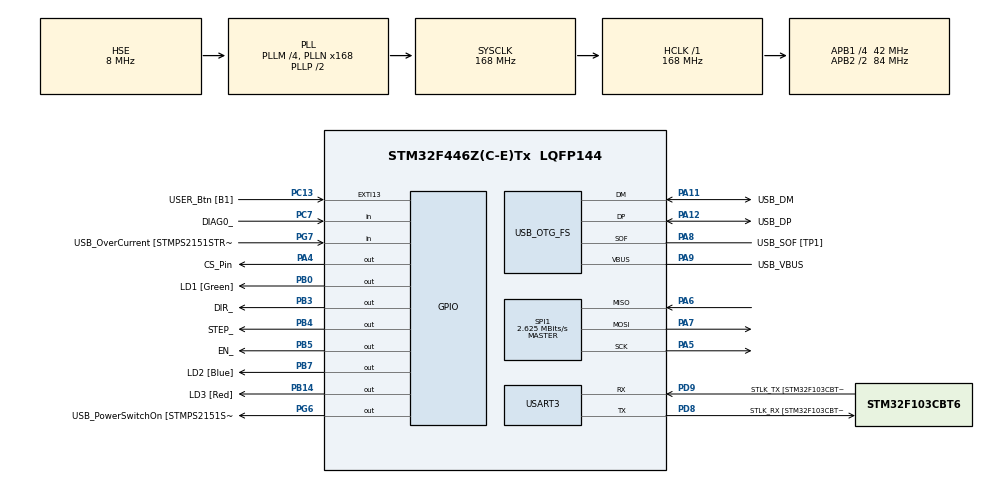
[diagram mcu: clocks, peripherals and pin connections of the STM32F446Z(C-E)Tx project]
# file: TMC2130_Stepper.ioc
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Mcu.Family=STM32F4
Mcu.Name=STM32F446Z(C-E)Tx
Mcu.Package=LQFP144
NVIC.PriorityGroup=NVIC_PRIORITYGROUP_4
NVIC.TIM1_TRG_COM_TIM11_IRQn=true\:0\:0\:false\:false\:true\:true\:true\:true
NVIC.TIM1_UP_TIM10_IRQn=true\:0\:0\:false\:false\:true\:true\:true\:true
PA10.GPIO_Label=USB_ID
PA10.Signal=USB_OTG_FS_ID
PA11.GPIO_Label=USB_DM
PA11.Mode=Device_Only
PA11.Signal=USB_OTG_FS_DM
PA12.GPIO_Label=USB_DP
PA12.Mode=Device_Only
PA12.Signal=USB_OTG_FS_DP
PA13.GPIO_Label=TMS
PA13.Mode=Serial_Wire
PA13.Signal=SYS_JTMS-SWDIO
PA14.GPIO_Label=TCK
PA14.Mode=Serial_Wire
PA14.Signal=SYS_JTCK-SWCLK
PA4.GPIO_Label=CS_Pin
PA4.Signal=GPIO_Output
PA5.Mode=Full_Duplex_Master
PA5.Signal=SPI1_SCK
PA6.Mode=Full_Duplex_Master
PA6.Signal=SPI1_MISO
PA7.Mode=Full_Duplex_Master
PA7.Signal=SPI1_MOSI
PA8.GPIO_Label=USB_SOF [TP1]
PA8.Mode=Activate_SOF_FS
PA8.Signal=USB_OTG_FS_SOF
PA9.GPIO_Label=USB_VBUS
PA9.Mode=Activate_VBUS
PA9.Signal=USB_OTG_FS_VBUS
PB0.GPIO_Label=LD1 [Green]
PB0.Signal=GPIO_Output
PB14.GPIO_Label=LD3 [Red]
PB14.Signal=GPIO_Output
PB3.GPIO_Label=DIR_
PB3.Signal=GPIO_Output
PB4.GPIO_Label=STEP_
PB4.Signal=GPIO_Output
PB5.GPIO_Label=EN_
PB5.Signal=GPIO_Output
PB7.GPIO_Label=LD2 [Blue]
PB7.Signal=GPIO_Output
PC13.GPIO_Label=USER_Btn [B1]
PC13.Signal=GPXTI13
PC14-OSC32_IN.Mode=LSE-External-Oscillator
PC14-OSC32_IN.Signal=RCC_OSC32_IN
PC15-OSC32_OUT.Mode=LSE-External-Oscillator
PC15-OSC32_OUT.Signal=RCC_OSC32_OUT
PC7.GPIO_Label=DIAG0_
PC7.GPIO_PuPd=GPIO_PULLUP
PC7.Signal=GPIO_Input
PD8.GPIO_Label=STLK_RX [STM32F103CBT6_PA3]
PD8.Mode=Asynchronous
PD8.Signal=USART3_TX
PD9.GPIO_Label=STLK_TX [STM32F103CBT6_PA2]
PD9.Mode=Asynchronous
PD9.Signal=USART3_RX
PG6.GPIO_Label=USB_PowerSwitchOn [STMPS2151STR_EN]
PG6.Signal=GPIO_Output
PG7.GPIO_Label=USB_OverCurrent [STMPS2151STR_FAULT]
PG7.Signal=GPIO_Input
PH0-OSC_IN.GPIO_Label=MCO [STM32F103CBT6_PA8]
PH0-OSC_IN.Mode=HSE-External-Clock-Source
PH0-OSC_IN.Signal=RCC_OSC_IN
PH1-OSC_OUT.Mode=HSE-External-Clock-Source
PH1-OSC_OUT.Signal=RCC_OSC_OUT
ProjectManager.HeapSize=0x200
ProjectManager.StackSize=0x400
ProjectManager.TargetToolchain=STM32CubeIDE
RCC.48MHZClocksFreq_Value=24000000
RCC.AHBFreq_Value=168000000
RCC.APB1CLKDivider=RCC_HCLK_DIV4
RCC.APB1Freq_Value=42000000
RCC.APB1TimFreq_Value=84000000
RCC.APB2CLKDivider=RCC_HCLK_DIV2
RCC.APB2Freq_Value=84000000
RCC.APB2TimFreq_Value=168000000
RCC.CortexFreq_Value=168000000
RCC.HCLKFreq_Value=168000000
RCC.HSE_VALUE=8000000
RCC.HSI_VALUE=16000000
RCC.PLLM=4
RCC.PLLMUL=RCC_PLL_MUL9
RCC.PLLN=168
RCC.PLLQ=7
RCC.PRESCALERUSB=RCC_USBCLKSOURCE_PLL_DIV1_5
RCC.SYSCLKFreq_VALUE=168000000
RCC.SYSCLKSource=RCC_SYSCLKSOURCE_PLLCLK
RCC.SYSCLKSourceVirtual=RCC_SYSCLKSOURCE_PLLCLK
RCC.USBFreq_Value=48000000
RCC.VCOOutputFreq_Value=336000000
SPI1.BaudRatePrescaler=SPI_BAUDRATEPRESCALER_32
SPI1.CLKPhase=SPI_PHASE_2EDGE
SPI1.CLKPolarity=SPI_POLARITY_HIGH
SPI1.CalculateBaudRate=2.625 MBits/s
SPI1.Direction=SPI_DIRECTION_2LINES
SPI1.Mode=SPI_MODE_MASTER
SPI1.VirtualType=VM_MASTER
TIM10.AutoReloadPreload=TIM_AUTORELOAD_PRELOAD_ENABLE
TIM10.Period=10000-1
TIM10.Prescaler=168-1
TIM11.AutoReloadPreload=TIM_AUTORELOAD_PRELOAD_ENABLE
TIM11.Period=640
TIM11.Prescaler=0
USART3.VirtualMode=VM_ASYNC
USB_OTG_FS.VirtualMode=Device_Only
VP_TIM10_VS_ClockSourceINT.Mode=Enable_Timer
VP_TIM11_VS_ClockSourceINT.Mode=Enable_Timer
board=NUCLEO-F446ZE

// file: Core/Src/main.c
/* USER CODE BEGIN Header */
/**
  ******************************************************************************
  * @file           : main.c
  * @brief          : Main program body
  ******************************************************************************
  * @attention
  *
  * Copyright (c) 2022 STMicroelectronics.
  * All rights reserved.
  *
  * This software is licensed under terms that can be found in the LICENSE file
  * in the root directory of this software component.
  * If no LICENSE file comes with this software, it is provided AS-IS.
  *
  ******************************************************************************
  */
/* USER CODE END Header */
#include "main.h"

/* USER CODE BEGIN Includes */
#include "tmc2130.h"
#include "tmc2130_step_generator.h"
#include "delay_us.h"
#include <stdlib.h>
/* USER CODE END Includes */

SPI_HandleTypeDef hspi1;

TIM_HandleTypeDef htim10;
TIM_HandleTypeDef htim11;

UART_HandleTypeDef huart3;

PCD_HandleTypeDef hpcd_USB_OTG_FS;

/* USER CODE BEGIN PV */

UART_HandleTypeDef *Log_UART = &huart3;

TMC2130TypeDef Motor_X;
TMC2130_Controller_t Motor_Controller = {.Motor = &Motor_X};

void Log_UART_Send_Char(char data)
{
    Log_UART->Instance->DR = (data);
    while (__HAL_UART_GET_FLAG(Log_UART, UART_FLAG_TC) == 0)
        ;
}

void Log_UART_Send_String(char *data)
{
    while (*data)
    {
        Log_UART_Send_Char(*data++);
    }
}

void Log_UART_Send_Int(int32_t num)
{
    char int_to_str[10] = {0};
    itoa(num, int_to_str, 10);
    Log_UART_Send_String(int_to_str);
}

void Log_UART_Send_Int_Hex(int32_t num)
{
    char int_to_str[32] = {0};
    itoa(num, int_to_str, 16);
    Log_UART_Send_String(int_to_str);
}

void Motor_config()
{
    int32_t sts = 0;

    Motor_X.CS_Port = CS_Pin_GPIO_Port;
    Motor_X.CS_Pin = CS_Pin_Pin;

    Motor_X.Step_Port = STEP__GPIO_Port;
    Motor_X.Step_Pin = STEP__Pin;

    Motor_X.DIR_Port = DIR__GPIO_Port;
    Motor_X.DIR_Pin = DIR__Pin;

    Motor_X.Enable_Port = EN__GPIO_Port;
    Motor_X.Enable_Pin = EN__Pin;

    Motor_X.DIAG1_Port = DIAG0__GPIO_Port;
    Motor_X.DIAG1_Pin = DIAG0__Pin;

    TMC_Add(&Motor_Controller);

    // set step generator parameters
    TMC_Set_Acceleration(&Motor_Controller, 130000);
    TMC_Set_MAX_velocity(&Motor_Controller, 130000);

    // enable stall and set minimum velocity for stall activation
    TMC_Enable_Stall(&Motor_Controller, 100000);

    // set tmc2130 parameters
    TMC2130_Set_Chopper_Off_Time(&Motor_X, 4);
    TMC2130_Set_Chopper_Blank_Time(&Motor_X, 0b10);
    TMC2130_Set_Max_Current(&Motor_X, 5);
    TMC2130_Set_Standby_Current(&Motor_X, 5);
    TMC2130_Set_Microstep(&Motor_X, 256);
    TMC2130_Set_TCOOLTHRS(&Motor_X, 0xFFFFF);
    TMC2130_Set_THIGH(&Motor_X, 0);
    TMC2130_Set_SEMIN_I(&Motor_X, 5);
    TMC2130_Set_SEMAX(&Motor_X, 2);
    TMC2130_Set_SEDN_I(&Motor_X, 0b01);

    TMC2130_Set_Stall_Threshold(&Motor_X, 12);

    // config diag1 for stall
    TMC2130_Set_DIAG0_Attribute(&Motor_X, DIAG_STALL, 1);

    sts = TMC2130_Get_Microstep(&Motor_X);
    sts = TMC2130_Get_Max_Current(&Motor_X);
    sts = TMC2130_Get_Standby_Current(&Motor_X);

    UNUSED(sts);
}

/* USER CODE END PV */

void SystemClock_Config(void);
static void MX_GPIO_Init(void);
static void MX_USART3_UART_Init(void);
static void MX_USB_OTG_FS_PCD_Init(void);
static void MX_SPI1_Init(void);
static void MX_TIM10_Init(void);
static void MX_TIM11_Init(void);

int main(void)
{

  /* MCU Configuration--------------------------------------------------------*/

  /* Reset of all peripherals, Initializes the Flash interface and the Systick. */
  HAL_Init();

  /* Configure the system clock */
  SystemClock_Config();

  /* Initialize all configured peripherals */
  MX_GPIO_Init();
  MX_USART3_UART_Init();
  MX_USB_OTG_FS_PCD_Init();
  MX_SPI1_Init();
  MX_TIM10_Init();
  MX_TIM11_Init();
  /* USER CODE BEGIN 2 */

  Motor_config();
  TMC_Enable_Driver(&Motor_Controller, 1);
  TMC_TIM_Enable(1);

  //rotate at fix velocity rpm = (100000*60)/(200*256)
  TMC_Rotate(&Motor_Controller, 100000);

  // wait for stall, sensorless homing
  //Kol nera DIAG0 arba DIAG1 tol neveiks Stall aptikimas
  //while (!(TMC_Get_Status(&Motor_Controller) & STATUS_STALLED));

  // reset postion
  TMC_Set_Actual_Position(&Motor_Controller, 0);

  HAL_Delay(2000);

  /* USER CODE END 2 */

  /* Infinite loop */
  /* USER CODE BEGIN WHILE */
  while (1)
  {
/*
      TMC_Move(&Motor_Controller, -2560 * 200 * 1); // move xx revolution

      while (!(TMC_Get_Status(&Motor_Controller) & STATUS_TARGET_REACHED) &&
             !(TMC_Get_Status(&Motor_Controller) & STATUS_STALLED));

      HAL_Delay(10);

      TMC_Move(&Motor_Controller, 2560 * 200 * 1); // move xx revolution

      while (!(TMC_Get_Status(&Motor_Controller) & STATUS_TARGET_REACHED) &&
             !(TMC_Get_Status(&Motor_Controller) & STATUS_STALLED));

      HAL_Delay(10);
*/
	  TMC_Rotate(&Motor_Controller, 100000);
	  HAL_Delay(3000);
	  TMC_Rotate(&Motor_Controller, -50000);
	  HAL_Delay(3000);

    /* USER CODE END WHILE */

  }
}

void SystemClock_Config(void)
{
  RCC_OscInitTypeDef RCC_OscInitStruct = {0};
  RCC_ClkInitTypeDef RCC_ClkInitStruct = {0};

  /** Configure the main internal regulator output voltage
  */
  __HAL_RCC_PWR_CLK_ENABLE();
  __HAL_PWR_VOLTAGESCALING_CONFIG(PWR_REGULATOR_VOLTAGE_SCALE1);

  /** Initializes the RCC Oscillators according to the specified parameters
  * in the RCC_OscInitTypeDef structure.
  */
  RCC_OscInitStruct.OscillatorType = RCC_OSCILLATORTYPE_HSE;
  RCC_OscInitStruct.HSEState = RCC_HSE_BYPASS;
  RCC_OscInitStruct.PLL.PLLState = RCC_PLL_ON;
  RCC_OscInitStruct.PLL.PLLSource = RCC_PLLSOURCE_HSE;
  RCC_OscInitStruct.PLL.PLLM = 4;
  RCC_OscInitStruct.PLL.PLLN = 168;
  RCC_OscInitStruct.PLL.PLLP = RCC_PLLP_DIV2;
  RCC_OscInitStruct.PLL.PLLQ = 7;
  RCC_OscInitStruct.PLL.PLLR = 2;
  if (HAL_RCC_OscConfig(&RCC_OscInitStruct) != HAL_OK)
  {
    Error_Handler();
  }

  /** Initializes the CPU, AHB and APB buses clocks
  */
  RCC_ClkInitStruct.ClockType = RCC_CLOCKTYPE_HCLK|RCC_CLOCKTYPE_SYSCLK
                              |RCC_CLOCKTYPE_PCLK1|RCC_CLOCKTYPE_PCLK2;
  RCC_ClkInitStruct.SYSCLKSource = RCC_SYSCLKSOURCE_PLLCLK;
  RCC_ClkInitStruct.AHBCLKDivider = RCC_SYSCLK_DIV1;
  RCC_ClkInitStruct.APB1CLKDivider = RCC_HCLK_DIV4;
  RCC_ClkInitStruct.APB2CLKDivider = RCC_HCLK_DIV2;

  if (HAL_RCC_ClockConfig(&RCC_ClkInitStruct, FLASH_LATENCY_5) != HAL_OK)
  {
    Error_Handler();
  }
}

static void MX_SPI1_Init(void)
{

  /* SPI1 parameter configuration*/
  hspi1.Instance = SPI1;
  hspi1.Init.Mode = SPI_MODE_MASTER;
  hspi1.Init.Direction = SPI_DIRECTION_2LINES;
  hspi1.Init.DataSize = SPI_DATASIZE_8BIT;
  hspi1.Init.CLKPolarity = SPI_POLARITY_HIGH;
  hspi1.Init.CLKPhase = SPI_PHASE_2EDGE;
  hspi1.Init.NSS = SPI_NSS_SOFT;
  hspi1.Init.BaudRatePrescaler = SPI_BAUDRATEPRESCALER_32;
  hspi1.Init.FirstBit = SPI_FIRSTBIT_MSB;
  hspi1.Init.TIMode = SPI_TIMODE_DISABLE;
  hspi1.Init.CRCCalculation = SPI_CRCCALCULATION_DISABLE;
  hspi1.Init.CRCPolynomial = 10;
  if (HAL_SPI_Init(&hspi1) != HAL_OK)
  {
    Error_Handler();
  }

}

static void MX_TIM10_Init(void)
{

  htim10.Instance = TIM10;
  htim10.Init.Prescaler = 168-1;
  htim10.Init.CounterMode = TIM_COUNTERMODE_UP;
  htim10.Init.Period = 10000-1;
  htim10.Init.ClockDivision = TIM_CLOCKDIVISION_DIV1;
  htim10.Init.AutoReloadPreload = TIM_AUTORELOAD_PRELOAD_ENABLE;
  if (HAL_TIM_Base_Init(&htim10) != HAL_OK)
  {
    Error_Handler();
  }

}

static void MX_TIM11_Init(void)
{

  htim11.Instance = TIM11;
  htim11.Init.Prescaler = 0;
  htim11.Init.CounterMode = TIM_COUNTERMODE_UP;
  htim11.Init.Period = 640;
  htim11.Init.ClockDivision = TIM_CLOCKDIVISION_DIV1;
  htim11.Init.AutoReloadPreload = TIM_AUTORELOAD_PRELOAD_ENABLE;
  if (HAL_TIM_Base_Init(&htim11) != HAL_OK)
  {
    Error_Handler();
  }

}

static void MX_USART3_UART_Init(void)
{

  huart3.Instance = USART3;
  huart3.Init.BaudRate = 115200;
  huart3.Init.WordLength = UART_WORDLENGTH_8B;
  huart3.Init.StopBits = UART_STOPBITS_1;
  huart3.Init.Parity = UART_PARITY_NONE;
  huart3.Init.Mode = UART_MODE_TX_RX;
  huart3.Init.HwFlowCtl = UART_HWCONTROL_NONE;
  huart3.Init.OverSampling = UART_OVERSAMPLING_16;
  if (HAL_UART_Init(&huart3) != HAL_OK)
  {
    Error_Handler();
  }

}

static void MX_USB_OTG_FS_PCD_Init(void)
{

  hpcd_USB_OTG_FS.Instance = USB_OTG_FS;
  hpcd_USB_OTG_FS.Init.dev_endpoints = 6;
  hpcd_USB_OTG_FS.Init.speed = PCD_SPEED_FULL;
  hpcd_USB_OTG_FS.Init.dma_enable = DISABLE;
  hpcd_USB_OTG_FS.Init.phy_itface = PCD_PHY_EMBEDDED;
  hpcd_USB_OTG_FS.Init.Sof_enable = ENABLE;
  hpcd_USB_OTG_FS.Init.low_power_enable = DISABLE;
  hpcd_USB_OTG_FS.Init.lpm_enable = DISABLE;
  hpcd_USB_OTG_FS.Init.vbus_sensing_enable = ENABLE;
  hpcd_USB_OTG_FS.Init.use_dedicated_ep1 = DISABLE;
  if (HAL_PCD_Init(&hpcd_USB_OTG_FS) != HAL_OK)
  {
    Error_Handler();
  }

}

static void MX_GPIO_Init(void)
{
  GPIO_InitTypeDef GPIO_InitStruct = {0};

  /* GPIO Ports Clock Enable */
  __HAL_RCC_GPIOC_CLK_ENABLE();
  __HAL_RCC_GPIOH_CLK_ENABLE();
  __HAL_RCC_GPIOA_CLK_ENABLE();
  __HAL_RCC_GPIOB_CLK_ENABLE();
  __HAL_RCC_GPIOD_CLK_ENABLE();
  __HAL_RCC_GPIOG_CLK_ENABLE();

  /*Configure GPIO pin Output Level */
  HAL_GPIO_WritePin(CS_Pin_GPIO_Port, CS_Pin_Pin, GPIO_PIN_RESET);

  /*Configure GPIO pin Output Level */
  HAL_GPIO_WritePin(GPIOB, LD1_Pin|LD3_Pin|DIR__Pin|STEP__Pin
                          |EN__Pin|LD2_Pin, GPIO_PIN_RESET);

  /*Configure GPIO pin Output Level */
  HAL_GPIO_WritePin(USB_PowerSwitchOn_GPIO_Port, USB_PowerSwitchOn_Pin, GPIO_PIN_RESET);

  /*Configure GPIO pin : USER_Btn_Pin */
  GPIO_InitStruct.Pin = USER_Btn_Pin;
  GPIO_InitStruct.Mode = GPIO_MODE_IT_RISING;
  GPIO_InitStruct.Pull = GPIO_NOPULL;
  HAL_GPIO_Init(USER_Btn_GPIO_Port, &GPIO_InitStruct);

  /*Configure GPIO pin : CS_Pin_Pin */
  GPIO_InitStruct.Pin = CS_Pin_Pin;
  GPIO_InitStruct.Mode = GPIO_MODE_OUTPUT_PP;
  GPIO_InitStruct.Pull = GPIO_NOPULL;
  GPIO_InitStruct.Speed = GPIO_SPEED_FREQ_LOW;
  HAL_GPIO_Init(CS_Pin_GPIO_Port, &GPIO_InitStruct);

  /*Configure GPIO pins : LD1_Pin LD3_Pin DIR__Pin STEP__Pin
                           EN__Pin LD2_Pin */
  GPIO_InitStruct.Pin = LD1_Pin|LD3_Pin|DIR__Pin|STEP__Pin
                          |EN__Pin|LD2_Pin;
  GPIO_InitStruct.Mode = GPIO_MODE_OUTPUT_PP;
  GPIO_InitStruct.Pull = GPIO_NOPULL;
  GPIO_InitStruct.Speed = GPIO_SPEED_FREQ_LOW;
  HAL_GPIO_Init(GPIOB, &GPIO_InitStruct);

  /*Configure GPIO pin : USB_PowerSwitchOn_Pin */
  GPIO_InitStruct.Pin = USB_PowerSwitchOn_Pin;
  GPIO_InitStruct.Mode = GPIO_MODE_OUTPUT_PP;
  GPIO_InitStruct.Pull = GPIO_NOPULL;
  GPIO_InitStruct.Speed = GPIO_SPEED_FREQ_LOW;
  HAL_GPIO_Init(USB_PowerSwitchOn_GPIO_Port, &GPIO_InitStruct);

  /*Configure GPIO pin : USB_OverCurrent_Pin */
  GPIO_InitStruct.Pin = USB_OverCurrent_Pin;
  GPIO_InitStruct.Mode = GPIO_MODE_INPUT;
  GPIO_InitStruct.Pull = GPIO_NOPULL;
  HAL_GPIO_Init(USB_OverCurrent_GPIO_Port, &GPIO_InitStruct);

  /*Configure GPIO pin : DIAG0__Pin */
  GPIO_InitStruct.Pin = DIAG0__Pin;
  GPIO_InitStruct.Mode = GPIO_MODE_INPUT;
  GPIO_InitStruct.Pull = GPIO_PULLUP;
  HAL_GPIO_Init(DIAG0__GPIO_Port, &GPIO_InitStruct);

}

void Error_Handler(void)
{
  __disable_irq();
  while (1)
  {
  }
}
